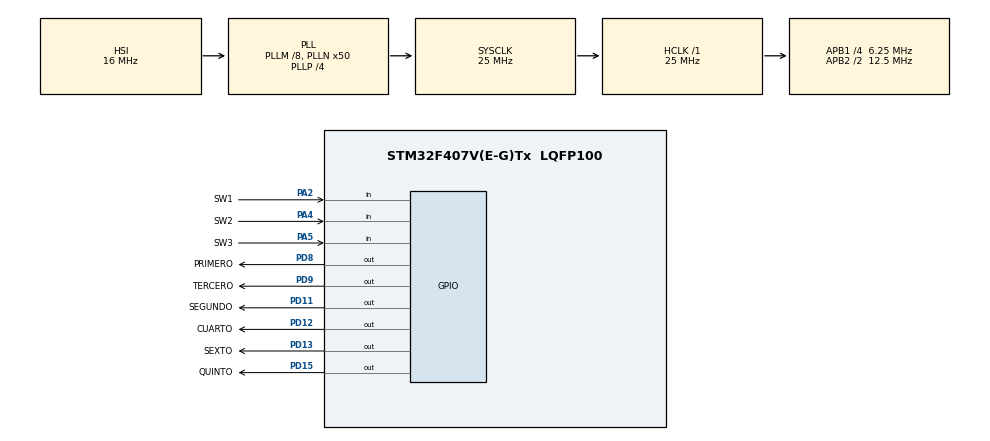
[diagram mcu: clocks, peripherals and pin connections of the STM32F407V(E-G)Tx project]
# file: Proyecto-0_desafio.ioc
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Mcu.Family=STM32F4
Mcu.Name=STM32F407V(E-G)Tx
Mcu.Package=LQFP100
NVIC.PriorityGroup=NVIC_PRIORITYGROUP_0
PA2.GPIO_Label=SW1
PA2.Signal=GPIO_Input
PA4.GPIO_Label=SW2
PA4.Signal=GPIO_Input
PA5.GPIO_Label=SW3
PA5.Signal=GPIO_Input
PD11.GPIO_Label=SEGUNDO
PD11.Signal=GPIO_Output
PD12.GPIO_Label=CUARTO
PD12.Signal=GPIO_Output
PD13.GPIO_Label=SEXTO
PD13.Signal=GPIO_Output
PD15.GPIO_Label=QUINTO
PD15.Signal=GPIO_Output
PD8.GPIO_Label=PRIMERO
PD8.Signal=GPIO_Output
PD9.GPIO_Label=TERCERO
PD9.Signal=GPIO_Output
ProjectManager.HeapSize=0x200
ProjectManager.StackSize=0x400
ProjectManager.TargetToolchain=STM32CubeIDE
RCC.48MHZClocksFreq_Value=14285714.285714285
RCC.AHBFreq_Value=25000000
RCC.APB1CLKDivider=RCC_HCLK_DIV4
RCC.APB1Freq_Value=6250000
RCC.APB1TimFreq_Value=12500000
RCC.APB2CLKDivider=RCC_HCLK_DIV2
RCC.APB2Freq_Value=12500000
RCC.APB2TimFreq_Value=25000000
RCC.CortexFreq_Value=25000000
RCC.HCLKFreq_Value=25000000
RCC.HSE_VALUE=8000000
RCC.HSI_VALUE=16000000
RCC.LSE_VALUE=32768
RCC.PLLM=8
RCC.PLLN=50
RCC.PLLP=RCC_PLLP_DIV4
RCC.PLLQ=7
RCC.SYSCLKFreq_VALUE=25000000
RCC.SYSCLKSource=RCC_SYSCLKSOURCE_PLLCLK
RCC.VCOOutputFreq_Value=100000000
board=STM32F407G-DISC1

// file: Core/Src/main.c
/* USER CODE BEGIN Header */
/**
  ******************************************************************************
  * @file           : main.c
  * @brief          : Main program body
  ******************************************************************************
  */
/* USER CODE END Header */
#include "main.h"

/* USER CODE BEGIN Includes */
#include <stdbool.h>
/* USER CODE END Includes */

/* USER CODE BEGIN PD */
#define TREBOTES 20
/* USER CODE END PD */

/* USER CODE BEGIN PV */
int modo = 0;
int velocidad = 1;
int led_activo = 0;
/* USER CODE END PV */

void SystemClock_Config(void);
static void MX_GPIO_Init(void);
/* USER CODE BEGIN PFP */
void ActualizarModo(void);
void ActualizarVelocidad(void);
void ApagarTodosLosLeds(void);
void EncenderTodosLosLeds(void);
void EncenderLedIndividual(int numero_led);
/* USER CODE END PFP */

int main(void)
{

  /* MCU Configuration--------------------------------------------------------*/

  /* Reset of all peripherals, Initializes the Flash interface and the Systick. */
  HAL_Init();

  /* Configure the system clock */
  SystemClock_Config();

  /* Initialize all configured peripherals */
  MX_GPIO_Init();
  /* USER CODE BEGIN 2 */
  uint32_t ultimo_tiempo_led = 0;
  uint16_t retraso_ms = 300;
  bool estado_parpadeo = false;
  /* USER CODE END 2 */

  /* Infinite loop */
  /* USER CODE BEGIN WHILE */
  while (1)
  {
    ActualizarModo();
    ActualizarVelocidad();

    if (HAL_GPIO_ReadPin(SW3_GPIO_Port, SW3_Pin) == GPIO_PIN_RESET) {//interrupcion de secuencia
        continue;
    }

    switch (velocidad)//seleccion velocidad
    {
        case 0:
            retraso_ms = 600; break;// Velocidad lenta
        case 1:
            retraso_ms = 300; break;// Velocidad media
        case 2:
            retraso_ms = 100;  break;// Velocidad rápida
    }

    uint32_t tiempo_actual = HAL_GetTick();
    if ((tiempo_actual - ultimo_tiempo_led) >= retraso_ms)
    {
        ultimo_tiempo_led = tiempo_actual;

        if (modo == 0)//modo horario
        {
            ApagarTodosLosLeds();
            EncenderLedIndividual(led_activo);
            led_activo = (led_activo + 1) % 6;
        }
        else if (modo == 1)//modo antiohorario
        {
            ApagarTodosLosLeds();
            EncenderLedIndividual(led_activo);
            led_activo = (led_activo - 1 + 6) % 6;
        }
        else
        {
            estado_parpadeo = !estado_parpadeo;//parpadeo
            if (estado_parpadeo) {
                EncenderTodosLosLeds();
            } else {
                ApagarTodosLosLeds();
            }
        }
    }
    /* USER CODE END WHILE */

  }
}

void SystemClock_Config(void)
{
  RCC_OscInitTypeDef RCC_OscInitStruct = {0};
  RCC_ClkInitTypeDef RCC_ClkInitStruct = {0};

  /** Configure the main internal regulator output voltage
  */
  __HAL_RCC_PWR_CLK_ENABLE();
  __HAL_PWR_VOLTAGESCALING_CONFIG(PWR_REGULATOR_VOLTAGE_SCALE1);

  /** Initializes the RCC Oscillators according to the specified parameters
  * in the RCC_OscInitTypeDef structure.
  */
  RCC_OscInitStruct.OscillatorType = RCC_OSCILLATORTYPE_HSI;
  RCC_OscInitStruct.HSIState = RCC_HSI_ON;
  RCC_OscInitStruct.HSICalibrationValue = RCC_HSICALIBRATION_DEFAULT;
  RCC_OscInitStruct.PLL.PLLState = RCC_PLL_ON;
  RCC_OscInitStruct.PLL.PLLSource = RCC_PLLSOURCE_HSI;
  RCC_OscInitStruct.PLL.PLLM = 8;
  RCC_OscInitStruct.PLL.PLLN = 50;
  RCC_OscInitStruct.PLL.PLLP = RCC_PLLP_DIV4;
  RCC_OscInitStruct.PLL.PLLQ = 7;
  if (HAL_RCC_OscConfig(&RCC_OscInitStruct) != HAL_OK)
  {
    Error_Handler();
  }

  /** Initializes the CPU, AHB and APB buses clocks
  */
  RCC_ClkInitStruct.ClockType = RCC_CLOCKTYPE_HCLK|RCC_CLOCKTYPE_SYSCLK
                              |RCC_CLOCKTYPE_PCLK1|RCC_CLOCKTYPE_PCLK2;
  RCC_ClkInitStruct.SYSCLKSource = RCC_SYSCLKSOURCE_PLLCLK;
  RCC_ClkInitStruct.AHBCLKDivider = RCC_SYSCLK_DIV1;
  RCC_ClkInitStruct.APB1CLKDivider = RCC_HCLK_DIV4;
  RCC_ClkInitStruct.APB2CLKDivider = RCC_HCLK_DIV2;

  if (HAL_RCC_ClockConfig(&RCC_ClkInitStruct, FLASH_LATENCY_0) != HAL_OK)
  {
    Error_Handler();
  }
}

static void MX_GPIO_Init(void)
{
  GPIO_InitTypeDef GPIO_InitStruct = {0};

  /* GPIO Ports Clock Enable */
  __HAL_RCC_GPIOA_CLK_ENABLE();
  __HAL_RCC_GPIOD_CLK_ENABLE();

  /*Configure GPIO pin Output Level */
  HAL_GPIO_WritePin(GPIOD, PRIMERO_Pin|TERCERO_Pin|SEGUNDO_Pin|CUARTO_Pin
                          |SEXTO_Pin|QUINTO_Pin, GPIO_PIN_RESET);

  /*Configure GPIO pins : SW1_Pin SW2_Pin SW3_Pin */
  GPIO_InitStruct.Pin = SW1_Pin|SW2_Pin|SW3_Pin;
  GPIO_InitStruct.Mode = GPIO_MODE_INPUT;
  GPIO_InitStruct.Pull = GPIO_NOPULL;
  HAL_GPIO_Init(GPIOA, &GPIO_InitStruct);

  /*Configure GPIO pins : PRIMERO_Pin TERCERO_Pin SEGUNDO_Pin CUARTO_Pin
                           SEXTO_Pin QUINTO_Pin */
  GPIO_InitStruct.Pin = PRIMERO_Pin|TERCERO_Pin|SEGUNDO_Pin|CUARTO_Pin
                          |SEXTO_Pin|QUINTO_Pin;
  GPIO_InitStruct.Mode = GPIO_MODE_OUTPUT_PP;
  GPIO_InitStruct.Pull = GPIO_NOPULL;
  GPIO_InitStruct.Speed = GPIO_SPEED_FREQ_LOW;
  HAL_GPIO_Init(GPIOD, &GPIO_InitStruct);

}

/* USER CODE BEGIN 4 */
void ActualizarModo(void) {
    static GPIO_PinState ultima_lectura = GPIO_PIN_SET;
    GPIO_PinState lectura1 = HAL_GPIO_ReadPin(SW1_GPIO_Port, SW1_Pin);

    if (lectura1 != ultima_lectura) {
        HAL_Delay(TREBOTES);
        GPIO_PinState lectura2 = HAL_GPIO_ReadPin(SW1_GPIO_Port, SW1_Pin);

        if (lectura2 == lectura1) {
            ultima_lectura = lectura2;
            if (ultima_lectura == GPIO_PIN_RESET) {
                modo++;
                if (modo > 2) {
                    modo = 0;
                }
                ApagarTodosLosLeds();
                led_activo = 0;
            }
        }
    }
}

void ActualizarVelocidad(void) {
    static GPIO_PinState ultima_lectura = GPIO_PIN_SET;
    GPIO_PinState lectura1 = HAL_GPIO_ReadPin(SW2_GPIO_Port, SW2_Pin);

    if (lectura1 != ultima_lectura) {
        HAL_Delay(TREBOTES);
        GPIO_PinState lectura2 = HAL_GPIO_ReadPin(SW2_GPIO_Port, SW2_Pin);

        if (lectura2 == lectura1) {
            ultima_lectura = lectura2;
            if (ultima_lectura == GPIO_PIN_RESET) {
                velocidad++;
                if (velocidad > 2) {
                    velocidad = 0;
                }
            }
        }
    }
}

void ApagarTodosLosLeds(void) {
    HAL_GPIO_WritePin(GPIOD, PRIMERO_Pin|SEGUNDO_Pin|TERCERO_Pin|CUARTO_Pin|QUINTO_Pin|SEXTO_Pin, GPIO_PIN_RESET);
}

void EncenderTodosLosLeds(void) {
    HAL_GPIO_WritePin(GPIOD, PRIMERO_Pin|SEGUNDO_Pin|TERCERO_Pin|CUARTO_Pin|QUINTO_Pin|SEXTO_Pin, GPIO_PIN_SET);
}

void EncenderLedIndividual(int numero_led) {
    switch(numero_led) {
        case 0: HAL_GPIO_WritePin(PRIMERO_GPIO_Port, PRIMERO_Pin, GPIO_PIN_SET); break;
        case 1: HAL_GPIO_WritePin(SEGUNDO_GPIO_Port, SEGUNDO_Pin, GPIO_PIN_SET); break;
        case 2: HAL_GPIO_WritePin(TERCERO_GPIO_Port, TERCERO_Pin, GPIO_PIN_SET); break;
        case 3: HAL_GPIO_WritePin(CUARTO_GPIO_Port,  CUARTO_Pin,  GPIO_PIN_SET); break;
        case 4: HAL_GPIO_WritePin(QUINTO_GPIO_Port,  QUINTO_Pin,  GPIO_PIN_SET); break;
        case 5: HAL_GPIO_WritePin(SEXTO_GPIO_Port,   SEXTO_Pin,   GPIO_PIN_SET); break;
    }
}
/* USER CODE END 4 */

void Error_Handler(void)
{
}
